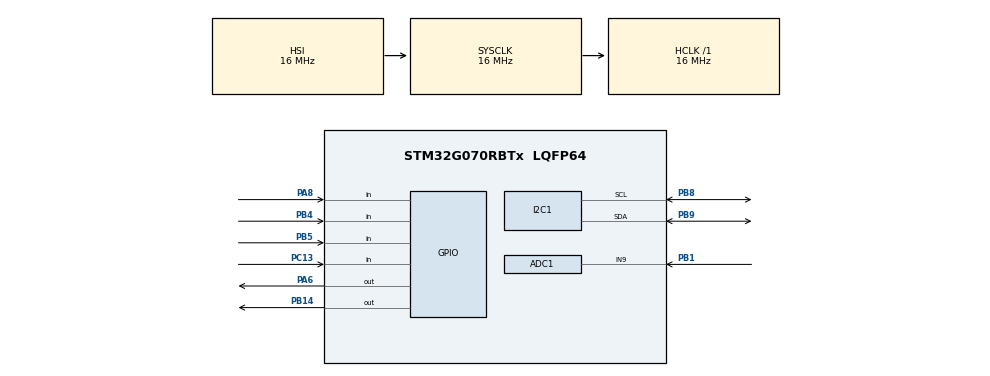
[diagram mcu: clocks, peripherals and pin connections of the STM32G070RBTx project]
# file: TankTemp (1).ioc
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ADC1.Channel-0\#ChannelRegularConversion=ADC_CHANNEL_9
ADC1.NbrOfConversionFlag=1
ADC1.Rank-0\#ChannelRegularConversion=1
ADC1.SamplingTime-0\#ChannelRegularConversion=ADC_SAMPLINGTIME_COMMON_1
ADC1.master=1
Mcu.Family=STM32G0
Mcu.Name=STM32G070RBTx
Mcu.Package=LQFP64
NVIC.ADC1_IRQn=true\:0\:0\:false\:false\:true\:true\:true
PA6.Signal=GPIO_Output
PA8.GPIO_PuPd=GPIO_PULLUP
PA8.Signal=GPIO_Input
PB1.Mode=IN9
PB1.Signal=ADC1_IN9
PB14.GPIO_PuPd=GPIO_NOPULL
PB14.Signal=GPIO_Output
PB4.GPIO_PuPd=GPIO_PULLUP
PB4.Signal=GPIO_Input
PB5.GPIO_PuPd=GPIO_PULLUP
PB5.Signal=GPIO_Input
PB8.Mode=I2C
PB8.Signal=I2C1_SCL
PB9.Mode=I2C
PB9.Signal=I2C1_SDA
PC13.GPIO_PuPd=GPIO_PULLUP
PC13.Signal=GPIO_Input
ProjectManager.HeapSize=0x200
ProjectManager.StackSize=0x400
ProjectManager.TargetToolchain=EWARM V8.32
RCC.AHBFreq_Value=16000000
RCC.CortexFreq_Value=16000000
RCC.EXTERNAL_CLOCK_VALUE=48000
RCC.HCLKFreq_Value=16000000
RCC.HSE_VALUE=8000000
RCC.HSI_VALUE=16000000
RCC.LSE_VALUE=32768
RCC.SYSCLKFreq_VALUE=16000000
RCC.VCOOutputFreq_Value=128000000
VP_SYS_VS_DBSignals.Mode=DisableDeadBatterySignals
board=custom

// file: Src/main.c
/* USER CODE BEGIN Header */
/**
  ******************************************************************************
  * @file           : main.c
  * @brief          : Main program body
  ******************************************************************************
  * @attention
  *
  * <h2><center>&copy; Copyright (c) 2020 STMicroelectronics.
  * All rights reserved.</center></h2>
  *
  * This software component is licensed by ST under BSD 3-Clause license,
  * the "License"; You may not use this file except in compliance with the
  * License. You may obtain a copy of the License at:
  *                        opensource.org/licenses/BSD-3-Clause
  *
  ******************************************************************************
  */
/* USER CODE END Header */

#include "main.h"

/* USER CODE BEGIN Includes */
#include <stdio.h>
#include "SSD1306\oled\inc\fonts.h"
#include "SSD1306\oled\inc\ssd1306.h"
#include "ux_manager.h"
#include "thermistor.h"

/* USER CODE END Includes */

/* USER CODE BEGIN PD */
#define BUTTON_PRESSED keyCode != 0xF

/* USER CODE END PD */

ADC_HandleTypeDef hadc1;

I2C_HandleTypeDef hi2c1;

/* USER CODE BEGIN PV */
// flags
extern uint8_t oneMSFlag;
extern uint8_t fiveMSFlag;
extern uint8_t tenMSFlag;
extern uint8_t fiftyMSFlag;
extern uint8_t hundredMSFlag;

// button stuff
uint8_t buttonDebounced = false;
uint8_t buttonProcessed = false;
uint8_t keyCode = 0x0;
int volatile counter = 0;

// temp stuff
uint16_t thermCounts;
int16_t tempC = 0;
int16_t tempF = 0;

// memory
typedef union _temp_settings {
  uint8_t Array[4];
  struct settingsStruct {
    uint8_t minTemp;
    uint8_t maxTemp;
    uint8_t dummy;
  } settingsData;
} settings;

typedef union _my_union {
  uint8_t Array[6];
  struct _myStruct {
    uint16_t tcCal;
    int16_t cjCal;
    uint8_t valid;
    uint8_t dummy;
  } calData;
} cal_constants;
cal_constants myCalibration;

#define EEPROM_ADDR 0xA0
uint8_t memTxData[4] = {0,0,0,0};
uint8_t memRxData[4] = {0,0,0,0};
HAL_StatusTypeDef i2cResult = HAL_OK;

settings userSettings;

/* USER CODE END PV */

void SystemClock_Config(void);
static void MX_GPIO_Init(void);
static void MX_ADC1_Init(void);
static void MX_I2C1_Init(void);

int main(void)
{

  /* MCU Configuration--------------------------------------------------------*/

  /* Reset of all peripherals, Initializes the Flash interface and the Systick. */
  HAL_Init();

  /* Configure the system clock */
  SystemClock_Config();

  /* Initialize all configured peripherals */
  MX_GPIO_Init();
  MX_ADC1_Init();
  MX_I2C1_Init();
  /* USER CODE BEGIN 2 */

  SSD1306_Init();
  SwitchScreens(HOME);
  HAL_Delay (1000);

  myCalibration.calData.cjCal = 23;
  myCalibration.calData.tcCal = -137;
  myCalibration.calData.valid = true;

 i2cResult = HAL_I2C_Mem_Write(&hi2c1, EEPROM_ADDR, 0, I2C_MEMADD_SIZE_8BIT, myCalibration.Array, 6, 1000);

 i2cResult = HAL_I2C_Mem_Read(&hi2c1, EEPROM_ADDR, 0, I2C_MEMADD_SIZE_8BIT, memRxData, 4, 1000);

  userSettings.settingsData.minTemp = 76;
  userSettings.settingsData.maxTemp = 80;

  memTxData[0] = 3;
  memTxData[1] = 2;
  memTxData[2] = 1;
  memTxData[3] = 0;

  i2cResult = HAL_I2C_Mem_Write(&hi2c1, EEPROM_ADDR, 0, I2C_MEMADD_SIZE_8BIT, memTxData, 4, 1000);

  HAL_Delay(500);

  memRxData[0] = 0xFF;
  memRxData[1] = 0xFF;
  memRxData[2] = 0xFF;
  memRxData[3] = 0xFF;

  i2cResult = HAL_I2C_Mem_Read(&hi2c1, EEPROM_ADDR, 0, I2C_MEMADD_SIZE_8BIT, memRxData, 4, 1000);

  /* USER CODE END 2 */

  /* Infinite loop */
  /* USER CODE BEGIN WHILE */
  while (1)
  {
    if (hundredMSFlag) {
      hundredMSFlag = false;
      HAL_ADC_Start_IT(&hadc1);

      keyCode = GetButtonVal();
      if(BUTTON_PRESSED) {
        if (buttonDebounced == true) {
            buttonProcessed = ProcessKeyCode(keyCode);
          }
        else {
          buttonDebounced = true;
        }
      }
      else {
          buttonDebounced = false;
      }
    }

    if (oneMSFlag) {
      oneMSFlag = false;

      tempC = ThermTemp(thermCounts);
      tempF = C2F(tempC);
      tempInF.data = tempF;

      if ((tempF >= maxTemp.data) || (tempF <= minTemp.data)) {
        HAL_GPIO_WritePin(GPIOA, GPIO_PIN_6, GPIO_PIN_SET);
      } else {
        HAL_GPIO_WritePin(GPIOA, GPIO_PIN_6, GPIO_PIN_RESET);
      }

      UpdateScreen();
    }

    /* USER CODE END WHILE */

  }
}

void SystemClock_Config(void)
{
  RCC_OscInitTypeDef RCC_OscInitStruct = {0};
  RCC_ClkInitTypeDef RCC_ClkInitStruct = {0};
  RCC_PeriphCLKInitTypeDef PeriphClkInit = {0};

  /** Configure the main internal regulator output voltage
  */
  HAL_PWREx_ControlVoltageScaling(PWR_REGULATOR_VOLTAGE_SCALE1);
  /** Initializes the CPU, AHB and APB busses clocks
  */
  RCC_OscInitStruct.OscillatorType = RCC_OSCILLATORTYPE_HSI;
  RCC_OscInitStruct.HSIState = RCC_HSI_ON;
  RCC_OscInitStruct.HSIDiv = RCC_HSI_DIV1;
  RCC_OscInitStruct.HSICalibrationValue = RCC_HSICALIBRATION_DEFAULT;
  RCC_OscInitStruct.PLL.PLLState = RCC_PLL_NONE;
  if (HAL_RCC_OscConfig(&RCC_OscInitStruct) != HAL_OK)
  {
    Error_Handler();
  }
  /** Initializes the CPU, AHB and APB busses clocks
  */
  RCC_ClkInitStruct.ClockType = RCC_CLOCKTYPE_HCLK|RCC_CLOCKTYPE_SYSCLK
                              |RCC_CLOCKTYPE_PCLK1;
  RCC_ClkInitStruct.SYSCLKSource = RCC_SYSCLKSOURCE_HSI;
  RCC_ClkInitStruct.AHBCLKDivider = RCC_SYSCLK_DIV1;
  RCC_ClkInitStruct.APB1CLKDivider = RCC_HCLK_DIV1;

  if (HAL_RCC_ClockConfig(&RCC_ClkInitStruct, FLASH_LATENCY_0) != HAL_OK)
  {
    Error_Handler();
  }
  /** Initializes the peripherals clocks
  */
  PeriphClkInit.PeriphClockSelection = RCC_PERIPHCLK_I2C1|RCC_PERIPHCLK_ADC;
  PeriphClkInit.I2c1ClockSelection = RCC_I2C1CLKSOURCE_PCLK1;
  PeriphClkInit.AdcClockSelection = RCC_ADCCLKSOURCE_SYSCLK;
  if (HAL_RCCEx_PeriphCLKConfig(&PeriphClkInit) != HAL_OK)
  {
    Error_Handler();
  }
}

static void MX_ADC1_Init(void)
{

  ADC_AnalogWDGConfTypeDef AnalogWDGConfig = {0};
  ADC_ChannelConfTypeDef sConfig = {0};

  /** Configure the global features of the ADC (Clock, Resolution, Data Alignment and number of conversion)
  */
  hadc1.Instance = ADC1;
  hadc1.Init.ClockPrescaler = ADC_CLOCK_SYNC_PCLK_DIV2;
  hadc1.Init.Resolution = ADC_RESOLUTION_12B;
  hadc1.Init.DataAlign = ADC_DATAALIGN_RIGHT;
  hadc1.Init.ScanConvMode = ADC_SCAN_DISABLE;
  hadc1.Init.EOCSelection = ADC_EOC_SINGLE_CONV;
  hadc1.Init.LowPowerAutoWait = DISABLE;
  hadc1.Init.LowPowerAutoPowerOff = DISABLE;
  hadc1.Init.ContinuousConvMode = DISABLE;
  hadc1.Init.NbrOfConversion = 1;
  hadc1.Init.DiscontinuousConvMode = DISABLE;
  hadc1.Init.ExternalTrigConv = ADC_SOFTWARE_START;
  hadc1.Init.ExternalTrigConvEdge = ADC_EXTERNALTRIGCONVEDGE_NONE;
  hadc1.Init.DMAContinuousRequests = DISABLE;
  hadc1.Init.Overrun = ADC_OVR_DATA_PRESERVED;
  hadc1.Init.SamplingTimeCommon1 = ADC_SAMPLETIME_1CYCLE_5;
  hadc1.Init.SamplingTimeCommon2 = ADC_SAMPLETIME_1CYCLE_5;
  hadc1.Init.OversamplingMode = DISABLE;
  hadc1.Init.TriggerFrequencyMode = ADC_TRIGGER_FREQ_HIGH;
  if (HAL_ADC_Init(&hadc1) != HAL_OK)
  {
    Error_Handler();
  }
  /** Configure Analog WatchDog 2
  */
  AnalogWDGConfig.WatchdogMode = ADC_ANALOGWATCHDOG_SINGLE_REG;
  if (HAL_ADC_AnalogWDGConfig(&hadc1, &AnalogWDGConfig) != HAL_OK)
  {
    Error_Handler();
  }
  /** Configure Regular Channel
  */
  sConfig.Channel = ADC_CHANNEL_9;
  sConfig.Rank = ADC_REGULAR_RANK_1;
  sConfig.SamplingTime = ADC_SAMPLINGTIME_COMMON_1;
  if (HAL_ADC_ConfigChannel(&hadc1, &sConfig) != HAL_OK)
  {
    Error_Handler();
  }

}

static void MX_I2C1_Init(void)
{

  hi2c1.Instance = I2C1;
  hi2c1.Init.Timing = 0x00303D5B;
  hi2c1.Init.OwnAddress1 = 0;
  hi2c1.Init.AddressingMode = I2C_ADDRESSINGMODE_7BIT;
  hi2c1.Init.DualAddressMode = I2C_DUALADDRESS_DISABLE;
  hi2c1.Init.OwnAddress2 = 0;
  hi2c1.Init.OwnAddress2Masks = I2C_OA2_NOMASK;
  hi2c1.Init.GeneralCallMode = I2C_GENERALCALL_DISABLE;
  hi2c1.Init.NoStretchMode = I2C_NOSTRETCH_DISABLE;
  if (HAL_I2C_Init(&hi2c1) != HAL_OK)
  {
    Error_Handler();
  }
  /** Configure Analogue filter
  */
  if (HAL_I2CEx_ConfigAnalogFilter(&hi2c1, I2C_ANALOGFILTER_ENABLE) != HAL_OK)
  {
    Error_Handler();
  }
  /** Configure Digital filter
  */
  if (HAL_I2CEx_ConfigDigitalFilter(&hi2c1, 0) != HAL_OK)
  {
    Error_Handler();
  }

}

static void MX_GPIO_Init(void)
{
  GPIO_InitTypeDef GPIO_InitStruct = {0};

  /* GPIO Ports Clock Enable */
  __HAL_RCC_GPIOC_CLK_ENABLE();
  __HAL_RCC_GPIOA_CLK_ENABLE();
  __HAL_RCC_GPIOB_CLK_ENABLE();

  /*Configure GPIO pin Output Level */
  HAL_GPIO_WritePin(GPIOA, GPIO_PIN_6, GPIO_PIN_RESET);

  /*Configure GPIO pin Output Level */
  HAL_GPIO_WritePin(GPIOB, GPIO_PIN_14, GPIO_PIN_RESET);

  /*Configure GPIO pin : PC13 */
  GPIO_InitStruct.Pin = GPIO_PIN_13;
  GPIO_InitStruct.Mode = GPIO_MODE_INPUT;
  GPIO_InitStruct.Pull = GPIO_PULLUP;
  HAL_GPIO_Init(GPIOC, &GPIO_InitStruct);

  /*Configure GPIO pin : PA6 */
  GPIO_InitStruct.Pin = GPIO_PIN_6;
  GPIO_InitStruct.Mode = GPIO_MODE_OUTPUT_PP;
  GPIO_InitStruct.Pull = GPIO_NOPULL;
  GPIO_InitStruct.Speed = GPIO_SPEED_FREQ_LOW;
  HAL_GPIO_Init(GPIOA, &GPIO_InitStruct);

  /*Configure GPIO pin : PB14 */
  GPIO_InitStruct.Pin = GPIO_PIN_14;
  GPIO_InitStruct.Mode = GPIO_MODE_OUTPUT_PP;
  GPIO_InitStruct.Pull = GPIO_NOPULL;
  GPIO_InitStruct.Speed = GPIO_SPEED_FREQ_LOW;
  HAL_GPIO_Init(GPIOB, &GPIO_InitStruct);

  /*Configure GPIO pin : PA8 */
  GPIO_InitStruct.Pin = GPIO_PIN_8;
  GPIO_InitStruct.Mode = GPIO_MODE_INPUT;
  GPIO_InitStruct.Pull = GPIO_PULLUP;
  HAL_GPIO_Init(GPIOA, &GPIO_InitStruct);

  /*Configure GPIO pins : PB4 PB5 */
  GPIO_InitStruct.Pin = GPIO_PIN_4|GPIO_PIN_5;
  GPIO_InitStruct.Mode = GPIO_MODE_INPUT;
  GPIO_InitStruct.Pull = GPIO_PULLUP;
  HAL_GPIO_Init(GPIOB, &GPIO_InitStruct);

}

void Error_Handler(void)
{
}

/************************ (C) COPYRIGHT STMicroelectronics *****END OF FILE****/
